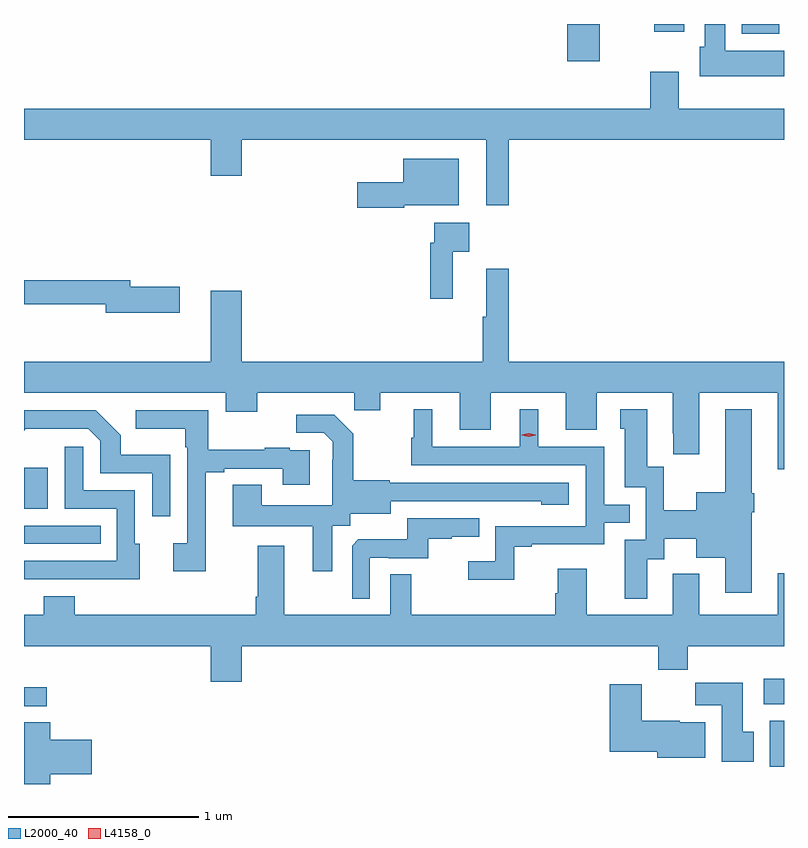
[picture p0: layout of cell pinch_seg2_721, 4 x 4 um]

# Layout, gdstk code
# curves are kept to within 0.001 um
import gdstk
lib = gdstk.Library(unit=1e-6, precision=1e-09)
def R(c, l, rs):  # rectangles x0, y0, x1, y1
    for r in rs: c.add(gdstk.rectangle(r[:2], r[2:], *l))
def P(c, l, *ps):  # polygons
    for p in ps: c.add(gdstk.Polygon(p, *l))
L2000_40 = (2000, 40)
L4158_0 = (4158, 0)

pinch_seg2_721 = lib.new_cell('pinch_seg2_721')
R(pinch_seg2_721, L2000_40, [(815.303,656.324,815.378,656.566), (811.378,656.643,811.498,656.742), (815.271,656.654,815.378,656.788), (811.378,657.498,811.781,657.594), (811.378,657.683,811.504,657.898), (814.238,660.039,814.408,660.234), (815.156,660.182,815.353,660.234), (814.694,660.192,814.852,660.234)])
P(pinch_seg2_721, L2000_40, [(815.378,660.094),(815.068,660.094),(815.068,660.234),(814.961,660.234),(814.961,660.114),(814.934,660.114),(814.934,659.96),(815.378,659.96)],
  [(813.929,659.624),(815.378,659.624),(815.378,659.788),(814.825,659.788),(814.825,659.983),(814.673,659.983),(814.673,659.788),(811.378,659.788),(811.378,659.624),(812.36,659.624),(812.36,659.436),(812.524,659.436),(812.524,659.624),(813.812,659.624),(813.812,659.28),(813.929,659.28)],
  [(813.378,659.279),(813.667,659.279),(813.667,659.524),(813.374,659.524),(813.374,659.401),(813.132,659.401),(813.132,659.267),(813.378,659.267)],
  [(813.635,659.036),(813.721,659.036),(813.721,659.188),(813.537,659.188),(813.537,659.084),(813.517,659.084),(813.517,658.788),(813.635,658.788)],
  [(815.378,658.456),(813.929,658.456),(813.929,658.945),(813.812,658.945),(813.812,658.692),(813.793,658.692),(813.793,658.456),(812.524,658.456),(812.524,658.831),(812.36,658.831),(812.36,658.456),(811.378,658.456),(811.378,658.292),(812.441,658.292),(812.441,658.193),(812.605,658.193),(812.605,658.292),(813.115,658.292),(813.115,658.202),(813.253,658.202),(813.253,658.292),(813.671,658.292),(813.671,658.098),(813.835,658.098),(813.835,658.292),(814.229,658.292),(814.229,658.098),(814.393,658.098),(814.393,658.292),(814.793,658.292),(814.793,658.081),(814.794,658.081),(814.794,657.969),(814.933,657.969),(814.933,658.292),(815.345,658.292),(815.345,657.891),(815.378,657.891)],
  [(812.197,658.85),(811.936,658.85),(811.936,658.886),(811.378,658.886),(811.378,658.758),(811.808,658.758),(811.808,658.715),(812.197,658.715)],
  [(813.957,657.483),(814.051,657.483),(814.051,657.495),(814.431,657.495),(814.431,657.609),(814.565,657.609),(814.565,657.705),(814.431,657.705),(814.431,658.008),(814.084,658.008),(814.084,658.207),(813.986,658.207),(813.986,658.008),(813.526,658.008),(813.526,658.207),(813.428,658.207),(813.428,658.056),(813.417,658.056),(813.417,657.912),(814.335,657.912),(814.335,657.591),(813.858,657.591),(813.858,657.406),(813.717,657.406),(813.717,657.308),(813.957,657.308)],
  [(814.657,657.418),(814.747,657.418),(814.747,657.524),(814.916,657.524),(814.916,657.425),(815.069,657.425),(815.069,657.24),(815.209,657.24),(815.209,657.665),(815.222,657.665),(815.222,657.765),(815.209,657.765),(815.209,658.207),(815.069,658.207),(815.069,657.769),(814.916,657.769),(814.916,657.676),(814.746,657.676),(814.746,657.903),(814.657,657.903),(814.657,658.207),(814.517,658.207),(814.517,658.104),(814.541,658.104),(814.541,657.795),(814.65,657.795),(814.65,657.519),(814.541,657.519),(814.541,657.21),(814.657,657.21)],
  [(812.148,657.967),(811.887,657.967),(811.887,658.07),(811.756,658.2),(811.378,658.2),(811.378,658.093),(811.388,658.103),(811.716,658.104),(811.779,658.041),(811.779,657.87),(812.052,657.87),(812.052,657.642),(812.148,657.642)],
  [(812.335,657.876),(812.431,657.876),(812.431,657.894),(812.741,657.894),(812.741,657.81),(812.881,657.81),(812.881,657.99),(812.777,657.99),(812.777,658.003),(812.645,658.003),(812.645,657.992),(812.347,657.992),(812.347,658.2),(811.965,658.2),(811.965,658.103),(812.226,658.103),(812.226,658.007),(812.238,658.007),(812.238,657.502),(812.163,657.502),(812.163,657.354),(812.335,657.354)],
  [(813.001,657.592),(813.096,657.592),(813.096,657.656),(813.307,657.656),(813.307,657.723),(814.101,657.722),(814.101,657.704),(814.246,657.704),(814.246,657.819),(813.303,657.819),(813.303,657.832),(813.111,657.832),(813.111,658.077),(813.011,658.177),(812.811,658.177),(812.811,658.083),(812.955,658.083),(813.002,658.036),(813.002,657.941),(813,657.941),(813,657.7),(812.629,657.7),(812.629,657.809),(812.477,657.809),(812.477,657.59),(812.897,657.59),(812.897,657.354),(813.001,657.354)],
  [(811.987,657.498),(811.962,657.498),(811.962,657.78),(811.689,657.78),(811.689,658.009),(811.593,658.009),(811.593,657.684),(811.866,657.684),(811.866,657.408),(811.378,657.408),(811.378,657.312),(811.769,657.312),(811.769,657.311),(811.987,657.311)],
  [(813.198,657.426),(813.298,657.426),(813.298,657.423),(813.506,657.423),(813.506,657.525),(813.629,657.525),(813.629,657.536),(813.773,657.536),(813.773,657.633),(813.396,657.633),(813.396,657.521),(813.137,657.521),(813.105,657.489),(813.105,657.209),(813.198,657.209)],
  [(811.645,657.223),(811.481,657.223),(811.481,657.124),(811.378,657.124),(811.378,656.96),(812.36,656.96),(812.36,656.772),(812.524,656.772),(812.524,656.96),(814.715,656.96),(814.715,656.836),(814.871,656.836),(814.871,656.96),(815.378,656.96),(815.378,657.343),(815.345,657.343),(815.345,657.124),(814.933,657.124),(814.933,657.34),(814.793,657.34),(814.793,657.124),(814.339,657.124),(814.339,657.367),(814.187,657.367),(814.187,657.237),(814.175,657.237),(814.175,657.124),(813.415,657.124),(813.415,657.338),(813.306,657.338),(813.306,657.124),(812.749,657.124),(812.749,657.487),(812.609,657.487),(812.609,657.22),(812.597,657.22),(812.597,657.124),(811.645,657.124)],
  [(815.218,656.508),(815.161,656.508),(815.161,656.767),(814.912,656.767),(814.912,656.648),(815.051,656.648),(815.051,656.352),(815.218,656.352)],
  [(814.963,656.56),(814.83,656.56),(814.83,656.566),(814.63,656.566),(814.63,656.758),(814.46,656.758),(814.46,656.405),(814.712,656.405),(814.712,656.372),(814.963,656.372)],
  [(811.517,656.285),(811.735,656.285),(811.735,656.468),(811.517,656.468),(811.517,656.558),(811.378,656.558),(811.378,656.234),(811.517,656.234)])
P(pinch_seg2_721, L4158_0, [(814.035,658.061),(813.999,658.07),(813.999,658.071),(813.999,658.071),(814.035,658.081),(814.071,658.071),(814.071,658.071),(814.071,658.07)])

lib.write_gds('pinch_seg2_721.gds')
